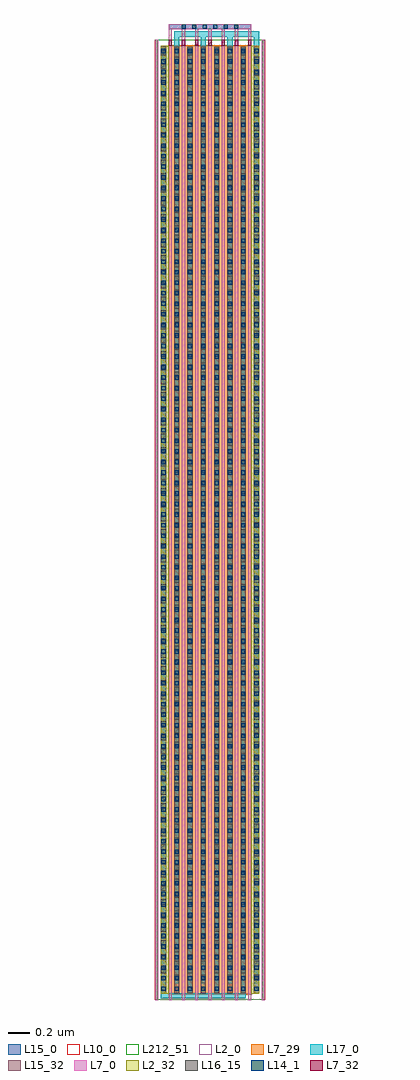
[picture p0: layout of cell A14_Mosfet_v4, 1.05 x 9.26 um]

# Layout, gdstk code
import gdstk
lib = gdstk.Library(unit=1e-6, precision=1e-09)
def R(c, l, rs):  # rectangles x0, y0, x1, y1
    for r in rs: c.add(gdstk.rectangle(r[:2], r[2:], *l))
def A(c, l, x, y, w, h, nx, ny, dx, dy):  # array of equal rectangles
    R(c, l, [(x+i*dx, y+j*dy, x+i*dx+w, y+j*dy+h) for i in range(nx) for j in range(ny)])
L2_0 = (2, 0)
L2_32 = (2, 32)
L7_0 = (7, 0)
L7_29 = (7, 29)
L7_32 = (7, 32)
L10_0 = (10, 0)
L14_1 = (14, 1)
L15_0 = (15, 0)
L15_32 = (15, 32)
L16_15 = (16, 15)
L17_0 = (17, 0)
L212_51 = (212, 51)

a14_mosfet_v4_srf_source = lib.new_cell('A14_Mosfet_v4:SRF_Source_ViaM1M2:SRF_ViaM1M2')
R(a14_mosfet_v4_srf_source, L15_0, [(0,-8.742,0.05,0.082)])
A(a14_mosfet_v4_srf_source, L16_15, 0, -8.71, 0.05, 0.05, 1, 68, 0, 0.13)
R(a14_mosfet_v4_srf_source, L17_0, [(0,-8.742,0.05,0.082)])

c_a14_mosfet_v4_srf_source = lib.new_cell('A14_Mosfet_v4:SRF_Source_ViaM1M2')
c_a14_mosfet_v4_srf_source.add(gdstk.Reference(a14_mosfet_v4_srf_source, (-0.025,4.33)))

a14_mosfet_v4_srf_drain_ = lib.new_cell('A14_Mosfet_v4:SRF_Drain_ViaM1M2:SRF_ViaM1M2')
R(a14_mosfet_v4_srf_drain_, L15_0, [(0,-8.742,0.05,0.082)])
A(a14_mosfet_v4_srf_drain_, L16_15, 0, -8.71, 0.05, 0.05, 1, 68, 0, 0.13)
R(a14_mosfet_v4_srf_drain_, L17_0, [(0,-8.742,0.05,0.082)])

c_a14_mosfet_v4_srf_drain_ = lib.new_cell('A14_Mosfet_v4:SRF_Drain_ViaM1M2')
c_a14_mosfet_v4_srf_drain_.add(gdstk.Reference(a14_mosfet_v4_srf_drain_, (-0.025,4.33)))

a14_mosfet_v4_srf_gate_v = lib.new_cell('A14_Mosfet_v4:SRF_Gate_ViaM0Mx:SRF_ViaM0M1')
R(a14_mosfet_v4_srf_gate_v, L7_0, [(-0.01,-0.004,0.55,0.044)])
A(a14_mosfet_v4_srf_gate_v, L14_1, 0, 0, 0.04, 0.04, 6, 1, 0.1, 0)
R(a14_mosfet_v4_srf_gate_v, L15_0, [(-0.021,-0.005,0.561,0.045)])

c_a14_mosfet_v4_srf_gate_v = lib.new_cell('A14_Mosfet_v4:SRF_Gate_ViaM0Mx')
c_a14_mosfet_v4_srf_gate_v.add(gdstk.Reference(a14_mosfet_v4_srf_gate_v, (-0.27,-0.02)))

a14_mosfet_v4 = lib.new_cell('A14_Mosfet_v4')
R(a14_mosfet_v4, L2_0, [(-0.076,0.057,0.862,9.057)])
R(a14_mosfet_v4, L2_32, [(-0.076,0.057,0,9.057), (0.786,0.057,0.862,9.057)])
A(a14_mosfet_v4, L7_0, -0.126, 0, 0.03, 9.114, 9, 1, 0.126, 0)
A(a14_mosfet_v4, L7_0, 0, 9.114, 0.03, 0.1, 7, 1, 0.126, 0)
R(a14_mosfet_v4, L7_0, [(0,9.214,0.786,9.262)])
R(a14_mosfet_v4, L7_29, [(-0.005,0.052,0.791,9.062)])
A(a14_mosfet_v4, L7_32, 0, 9.057, 0.03, 0.057, 7, 1, 0.126, 0)
R(a14_mosfet_v4, L10_0, [(-0.132,0.001,0.918,9.113)])
A(a14_mosfet_v4, L14_1, -0.068, 0.087, 0.04, 0.04, 8, 90, 0.126, 0.1)
R(a14_mosfet_v4, L15_0, [(-0.073,0.066,-0.023,9.048), (-0.073,0.066,-0.023,9.048), (0.053,0.066,0.103,9.048), (0.053,0.066,0.103,9.048), (0.179,0.066,0.229,9.048), (0.179,0.066,0.229,9.048), (0.305,0.066,0.355,9.048), (0.305,0.066,0.355,9.048), (0.431,0.066,0.481,9.048), (0.431,0.066,0.481,9.048), (0.557,0.066,0.607,9.048), (0.557,0.066,0.607,9.048), (0.683,0.066,0.733,9.048), (0.683,0.066,0.733,9.048), (0.809,0.066,0.859,9.048), (0.809,0.066,0.859,9.048), (0,9.213,0.786,9.263)])
A(a14_mosfet_v4, L15_32, -0.073, 0.066, 0.05, 8.982, 8, 1, 0.126, 0)
A(a14_mosfet_v4, L17_0, -0.073, 0.065, 0.05, 8.983, 4, 1, 0.252, 0)
A(a14_mosfet_v4, L17_0, 0.053, 8.984, 0.05, 0.159, 4, 1, 0.252, 0)
R(a14_mosfet_v4, L17_0, [(-0.073,0.015,0.733,0.065), (0.053,9.143,0.859,9.193)])
R(a14_mosfet_v4, L212_51, [(-0.111,0.001,0.897,9.113)])
a14_mosfet_v4.add(gdstk.Reference(c_a14_mosfet_v4_srf_source, (-0.048,4.636)))
a14_mosfet_v4.add(gdstk.Reference(c_a14_mosfet_v4_srf_source, (0.204,4.636)))
a14_mosfet_v4.add(gdstk.Reference(c_a14_mosfet_v4_srf_source, (0.456,4.636)))
a14_mosfet_v4.add(gdstk.Reference(c_a14_mosfet_v4_srf_source, (0.708,4.636)))
a14_mosfet_v4.add(gdstk.Reference(c_a14_mosfet_v4_srf_drain_, (0.078,4.572)))
a14_mosfet_v4.add(gdstk.Reference(c_a14_mosfet_v4_srf_drain_, (0.33,4.572)))
a14_mosfet_v4.add(gdstk.Reference(c_a14_mosfet_v4_srf_drain_, (0.582,4.572)))
a14_mosfet_v4.add(gdstk.Reference(c_a14_mosfet_v4_srf_drain_, (0.834,4.572)))
a14_mosfet_v4.add(gdstk.Reference(c_a14_mosfet_v4_srf_gate_v, (0.393,9.238)))

lib.write_gds('A14_Mosfet_v4.gds')
